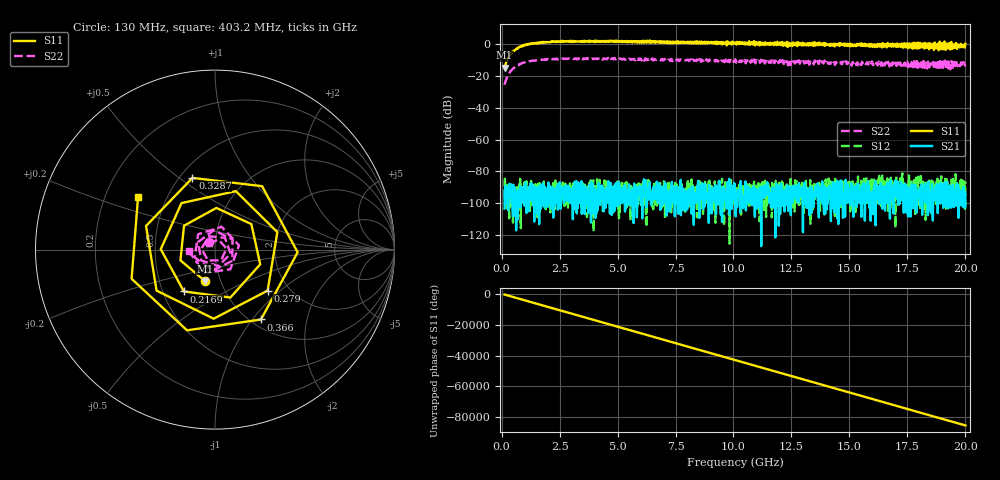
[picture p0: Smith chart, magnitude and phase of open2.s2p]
!Created with skrf (http://scikit-rf.org).
# GHz S RI R 50.0
!freq ReS11 ImS11 ReS21 ImS21 ReS12 ImS12 ReS22 ImS22
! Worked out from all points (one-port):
!   1601 points, 130 MHz to 20 GHz, reference 50 ohm
!   lowest |S11| = -14.7 dB at 130 MHz (marker M1), VSWR 1.45, Z = 42.1 - j15.2 ohm
!   |S11| at or under -10 dB: start of sweep to 239.7 MHz
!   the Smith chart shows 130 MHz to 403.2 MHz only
!   S11 on the Smith chart (normalised r, x): 130 MHz: 0.84, -0.30; 216.9 MHz: 0.64, -0.33; 279 MHz: 1.56, -0.83; 328.7 MHz: 0.58, +0.56; 366 MHz: 1.11, -1.10; 403.2 MHz: 0.34, +0.28
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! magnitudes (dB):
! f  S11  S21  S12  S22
! 130 MHz  -14.7  -103.3  -97.3  -25.5
! 216.9 MHz  -10.7  -96.1  -88.6  -21.3
! 279 MHz  -8.6  -104.4  -89.5  -19.3
! 328.7 MHz  -7.6  -90.7  -109.5  -18.3
! 366 MHz  -6.6  -93.9  -97.4  -17.3
! 403.2 MHz  -5.7  -88.1  -100.6  -16.7
! 788.2 MHz  -1.6  -102.2  -94.2  -12.6
! 1.297 GHz  0.5  -87.7  -90.6  -10.3
! 2.229 GHz  1.7  -109.0  -87.9  -9.2
! 3.446 GHz  2.0  -86.1  -95.2  -9.2
! 6.762 GHz  1.4  -90.5  -96.0  -9.4
! 10.06 GHz  0.9  -94.0  -89.2  -9.8
! 13.38 GHz  0.0  -97.7  -89.9  -11.7
! 13.72 GHz  0.5  -92.4  -89.3  -10.2
! 14.29 GHz  -0.7  -86.7  -101.3  -12.2
! 14.8 GHz  -0.5  -94.8  -86.3  -12.5
! 16.7 GHz  -1.3  -93.0  -94.1  -12.2
! 18.06 GHz  0.8  -91.0  -85.3  -13.1
! 18.75 GHz  -2.5  -90.1  -90.2  -13.9
! 18.99 GHz  0.6  -88.1  -99.0  -11.2
! 19.73 GHz  -0.6  -91.7  -94.6  -11.8
! 20 GHz  0.4  -101.7  -86.3  -13.2
